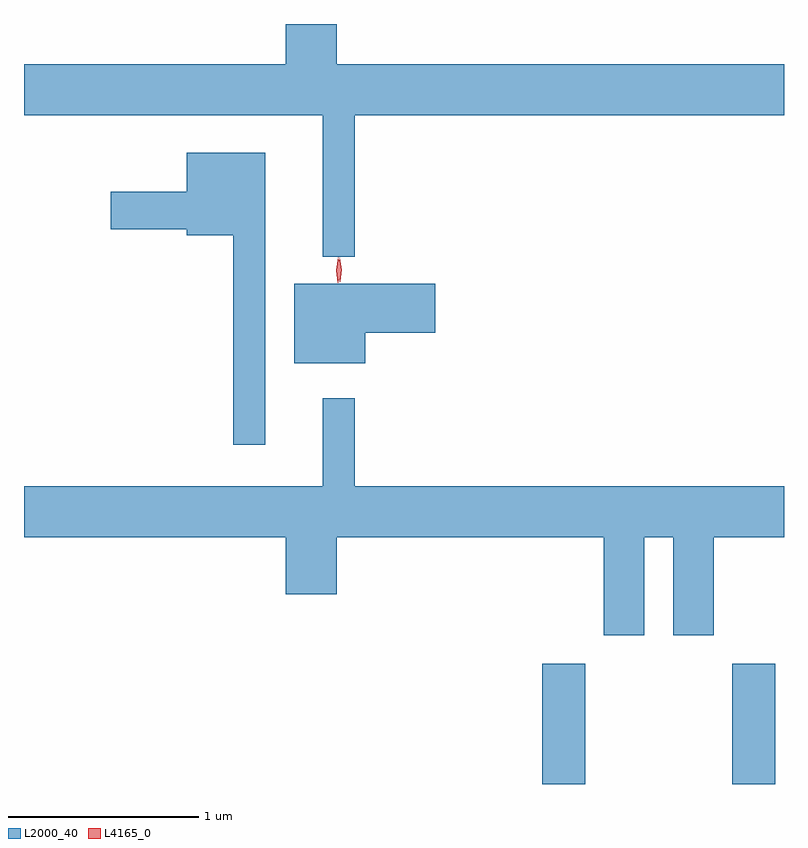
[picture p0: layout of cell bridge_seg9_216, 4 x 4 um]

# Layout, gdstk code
import gdstk
lib = gdstk.Library(unit=1e-6, precision=1e-09)
def R(c, l, rs):  # rectangles x0, y0, x1, y1
    for r in rs: c.add(gdstk.rectangle(r[:2], r[2:], *l))
def P(c, l, *ps):  # polygons
    for p in ps: c.add(gdstk.Polygon(p, *l))
L2000_40 = (2000, 40)
L4165_0 = (4165, 0)

bridge_seg9_216 = lib.new_cell('bridge_seg9_216')
R(bridge_seg9_216, L2000_40, [(1315.326,1977.197,1315.554,1977.829), (1316.326,1977.197,1316.554,1977.829)])
P(bridge_seg9_216, L2000_40, [(1314.339,1980.716),(1316.599,1980.716),(1316.599,1980.984),(1314.244,1980.984),(1314.244,1981.197),(1313.976,1981.197),(1313.976,1980.984),(1312.599,1980.984),(1312.599,1980.716),(1314.171,1980.716),(1314.171,1979.973),(1314.339,1979.973)],
  [(1313.869,1980.519),(1313.456,1980.519),(1313.456,1980.314),(1313.056,1980.314),(1313.056,1980.116),(1313.456,1980.116),(1313.456,1980.086),(1313.701,1980.086),(1313.701,1978.983),(1313.869,1978.983)],
  [(1314.394,1979.571),(1314.764,1979.571),(1314.764,1979.829),(1314.021,1979.829),(1314.021,1979.411),(1314.394,1979.411)],
  [(1315.864,1978.496),(1316.016,1978.496),(1316.016,1977.981),(1316.229,1977.981),(1316.229,1978.496),(1316.599,1978.496),(1316.599,1978.764),(1314.339,1978.764),(1314.339,1979.228),(1314.171,1979.228),(1314.171,1978.764),(1312.599,1978.764),(1312.599,1978.496),(1313.976,1978.496),(1313.976,1978.196),(1314.244,1978.196),(1314.244,1978.496),(1315.651,1978.496),(1315.651,1977.981),(1315.864,1977.981)])
P(bridge_seg9_216, L4165_0, [(1314.262,1979.84),(1314.262,1979.841),(1314.252,1979.904),(1314.26,1979.966),(1314.261,1979.967),(1314.261,1979.966),(1314.272,1979.904),(1314.263,1979.841)],
  [(1314.251,1979.834),(1314.242,1979.902),(1314.252,1979.97),(1314.253,1979.97),(1314.253,1979.97),(1314.262,1979.902),(1314.252,1979.834),(1314.252,1979.834)])

lib.write_gds('bridge_seg9_216.gds')
